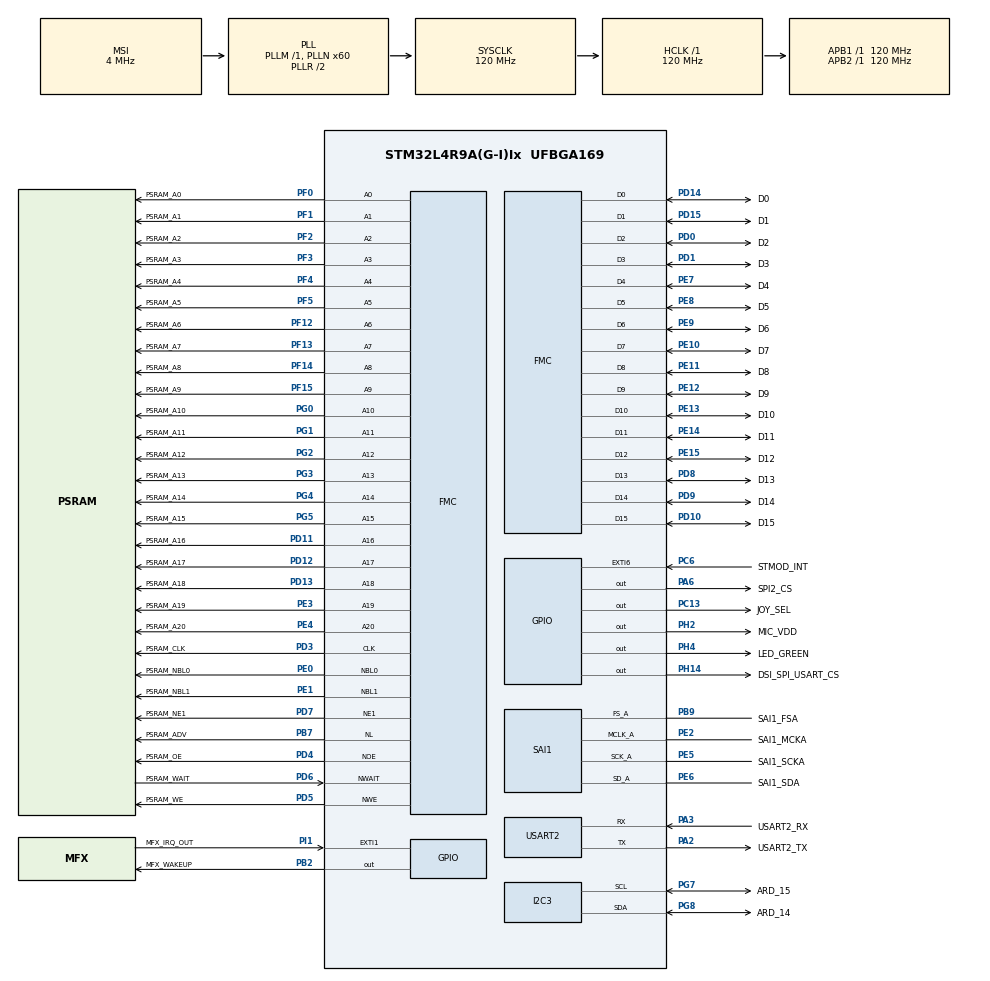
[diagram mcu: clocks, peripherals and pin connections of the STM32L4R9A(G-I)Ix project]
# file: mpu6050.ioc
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DSIHOST_CKN.GPIO_Label=DSI_CK_N
DSIHOST_CKN.Signal=DSIHOST_CKN
DSIHOST_CKP.GPIO_Label=DSI_CK_P
DSIHOST_CKP.Signal=DSIHOST_CKP
DSIHOST_D0N.GPIO_Label=DSI_D0_N
DSIHOST_D0N.Signal=DSIHOST_D0N
DSIHOST_D0P.GPIO_Label=DSI_D0_P
DSIHOST_D0P.Signal=DSIHOST_D0P
DSIHOST_D1N.GPIO_Label=DSI_D1_N
DSIHOST_D1N.Signal=DSIHOST_D1N
DSIHOST_D1P.GPIO_Label=DSI_D1_P
DSIHOST_D1P.Signal=DSIHOST_D1P
I2C3.Timing=0x30A175AB
Mcu.Family=STM32L4
Mcu.Name=STM32L4R9A(G-I)Ix
Mcu.Package=UFBGA169
NVIC.PriorityGroup=NVIC_PRIORITYGROUP_4
PA0.GPIO_Label=ARD_A4
PA0.Signal=ADCx_IN5
PA1.GPIO_Label=ARD_D5
PA1.Signal=S_TIM5_CH2
PA10.GPIO_Label=USB_OTGFS_ID
PA10.Signal=USB_OTG_FS_ID
PA11.GPIO_Label=USB_OTGFS_DM
PA11.Signal=USB_OTG_FS_DM
PA12.GPIO_Label=USB_OTG_FS_DP
PA12.Signal=USB_OTG_FS_DP
PA13\ (JTMS/SWDIO).GPIO_Label=SWDIO
PA13\ (JTMS/SWDIO).Mode=Serial_Wire
PA13\ (JTMS/SWDIO).Signal=SYS_JTMS-SWDIO
PA14\ (JTCK/SWCLK).GPIO_Label=SWCLK
PA14\ (JTCK/SWCLK).Mode=Serial_Wire
PA14\ (JTCK/SWCLK).Signal=SYS_JTCK-SWCLK
PA15\ (JTDI).GPIO_Label=USART3_RTS
PA15\ (JTDI).Signal=USART3_RTS
PA2.GPIO_Label=USART2_TX
PA2.Mode=Asynchronous
PA2.Signal=USART2_TX
PA3.GPIO_Label=USART2_RX
PA3.Mode=Asynchronous
PA3.Signal=USART2_RX
PA4.GPIO_Label=DCMI_HSYNC
PA4.Signal=DCMI_HSYNC
PA5.GPIO_Label=STMOD_PWM
PA5.Signal=S_TIM2_CH1
PA6.GPIO_Label=SPI2_CS
PA6.Signal=GPIO_Output
PA7.GPIO_Label=ARD_A0
PA7.Signal=ADCx_IN12
PA9.GPIO_Label=USB_OTGFS_VBUS
PA9.Signal=USB_OTG_FS_VBUS
PB0.GPIO_Label=ARD_A3
PB0.Signal=ADCx_IN15
PB10.GPIO_Label=USART3_TX
PB10.Signal=USART3_TX
PB11.GPIO_Label=USART3_RX
PB11.Signal=USART3_RX
PB12.GPIO_Label=DFDATIN1
PB12.Signal=S_DATAIN1DFSDM1
PB13.GPIO_Label=SPI2_CLK
PB13.Signal=SPI2_SCK
PB14.GPIO_Label=SPI2_MISO
PB14.Signal=SPI2_MISO
PB15.GPIO_Label=SPI_MOSI
PB15.Signal=SPI2_MOSI
PB2.GPIO_Label=MFX_WAKEUP
PB2.Signal=GPIO_Output
PB3\ (JTDO/TRACESWO).GPIO_Label=SWO
PB3\ (JTDO/TRACESWO).Signal=SYS_JTDO-SWO
PB4\ (NJTRST).GPIO_Label=ARD_D6
PB4\ (NJTRST).Signal=S_TIM3_CH1
PB5.GPIO_Label=SAI1_SDB
PB5.Signal=SAI1_SD_B
PB6.GPIO_Label=I2C1_SCL
PB6.GPIO_Pu=GPIO_PULLUP
PB6.Signal=I2C1_SCL
PB7.GPIO_Label=PSRAM_ADV
PB7.Signal=FMC_NL
PB9.GPIO_Label=SAI1_FSA
PB9.Mode=SAI_A_MasterWithClock
PB9.Signal=SAI1_FS_A
PC0.GPIO_Label=ARD_D0
PC0.Signal=LPUART1_RX
PC1.GPIO_Label=ARD_D1
PC1.Signal=LPUART1_TX
PC10.GPIO_Label=uSD_D2
PC10.Signal=SDMMC1_D2
PC11.GPIO_Label=uSD_D3
PC11.Signal=SDMMC1_D3
PC12.GPIO_Label=uSD_CLK
PC12.Signal=SDMMC1_CK
PC13.GPIO_Label=JOY_SEL
PC13.Signal=GPIO_Output
PC14-OSC32_IN\ (PC14).Mode=LSE-External-Oscillator
PC14-OSC32_IN\ (PC14).Signal=RCC_OSC32_IN
PC15-OSC32_OUT\ (PC15).Mode=LSE-External-Oscillator
PC15-OSC32_OUT\ (PC15).Signal=RCC_OSC32_OUT
PC2.GPIO_Label=DF_CKOUT
PC2.Signal=S_CKOUTDFSDM1
PC3.GPIO_Label=ARD_A2
PC3.Signal=ADCx_IN4
PC4.GPIO_Label=ARD_A1
PC4.Signal=ADCx_IN13
PC6.GPIO_Label=STMOD_INT
PC6.Signal=GPXTI6
PC7.GPIO_Label=DFDATIN3
PC7.Signal=S_DATAIN3DFSDM1
PC8.GPIO_Label=uSD_D0
PC8.Signal=SDMMC1_D0
PC9.GPIO_Label=uSD_D1
PC9.Signal=SDMMC1_D1
PD0.GPIO_Label=D2
PD0.Signal=FMC_D2_DA2
PD1.GPIO_Label=D3
PD1.Signal=FMC_D3_DA3
PD10.GPIO_Label=D15
PD10.Signal=FMC_D15_DA15
PD11.GPIO_Label=PSRAM_A16
PD11.Signal=FMC_A16_CLE
PD12.GPIO_Label=PSRAM_A17
PD12.Signal=FMC_A17_ALE
PD13.GPIO_Label=PSRAM_A18
PD13.Signal=FMC_A18
PD14.GPIO_Label=D0
PD14.Signal=FMC_D0_DA0
PD15.GPIO_Label=D1
PD15.Signal=FMC_D1_DA1
PD2.GPIO_Label=uSD_CMD
PD2.Signal=SDMMC1_CMD
PD3.GPIO_Label=PSRAM_CLK
PD3.Signal=FMC_CLK
PD4.GPIO_Label=PSRAM_OE
PD4.Signal=FMC_NOE
PD5.GPIO_Label=PSRAM_WE
PD5.Signal=FMC_NWE
PD6.GPIO_Label=PSRAM_WAIT
PD6.Signal=FMC_NWAIT
PD7.GPIO_Label=PSRAM_NE1
PD7.Mode=NorPsramChipSelect1_1
PD7.Signal=FMC_NE1
PD8.GPIO_Label=D13
PD8.Signal=FMC_D13_DA13
PD9.GPIO_Label=D14
PD9.Signal=FMC_D14_DA14
PE0.GPIO_Label=PSRAM_NBL0
PE0.Signal=FMC_NBL0
PE1.GPIO_Label=PSRAM_NBL1
PE1.Signal=FMC_NBL1
PE10.GPIO_Label=D7
PE10.Signal=FMC_D7_DA7
PE11.GPIO_Label=D8
PE11.Signal=FMC_D8_DA8
PE12.GPIO_Label=D9
PE12.Signal=FMC_D9_DA9
PE13.GPIO_Label=D10
PE13.Signal=FMC_D10_DA10
PE14.GPIO_Label=D11
PE14.Signal=FMC_D11_DA11
PE15.GPIO_Label=D12
PE15.Signal=FMC_D12_DA12
PE2.GPIO_Label=SAI1_MCKA
PE2.Mode=SAI_A_MasterWithClock
PE2.Signal=SAI1_MCLK_A
PE3.GPIO_Label=PSRAM_A19
PE3.Signal=FMC_A19
PE4.GPIO_Label=PSRAM_A20
PE4.Signal=FMC_A20
PE5.GPIO_Label=SAI1_SCKA
PE5.Mode=SAI_A_MasterWithClock
PE5.Signal=SAI1_SCK_A
PE6.GPIO_Label=SAI1_SDA
PE6.Mode=SAI_A_MasterWithClock
PE6.Signal=SAI1_SD_A
PE7.GPIO_Label=D4
PE7.Signal=FMC_D4_DA4
PE8.GPIO_Label=D5
PE8.Signal=FMC_D5_DA5
PE9.GPIO_Label=D6
PE9.Signal=FMC_D6_DA6
PF0.GPIO_Label=PSRAM_A0
PF0.Signal=FMC_A0
PF1.GPIO_Label=PSRAM_A1
PF1.Signal=FMC_A1
PF11.GPIO_Label=DSI_TE
PF11.Signal=DSIHOST_TE
PF12.GPIO_Label=PSRAM_A6
PF12.Signal=FMC_A6
PF13.GPIO_Label=PSRAM_A7
PF13.Signal=FMC_A7
PF14.GPIO_Label=PSRAM_A8
PF14.Signal=FMC_A8
PF15.GPIO_Label=PSRAM_A9
PF15.Signal=FMC_A9
PF2.GPIO_Label=PSRAM_A2
PF2.Signal=FMC_A2
PF3.GPIO_Label=PSRAM_A3
PF3.Signal=FMC_A3
PF4.GPIO_Label=PSRAM_A4
PF4.Signal=FMC_A4
PF5.GPIO_Label=PSRAM_A5
PF5.Signal=FMC_A5
PG0.GPIO_Label=PSRAM_A10
PG0.Signal=FMC_A10
PG1.GPIO_Label=PSRAM_A11
PG1.Signal=FMC_A11
PG10.GPIO_Label=OCTOSPIM_P2_IO7
PG10.Signal=OCTOSPIM_P2_IO7
PG12.GPIO_Label=OCTOSPIM_P2_CS
PG12.Signal=OCTOSPIM_P2_NCS
PG13.GPIO_Label=I2C1_SDA
PG13.GPIO_Pu=GPIO_PULLUP
PG13.Signal=I2C1_SDA
PG15.GPIO_Label=OCTOSPIM_P2_DQS
PG15.Signal=OCTOSPIM_P2_DQS
PG2.GPIO_Label=PSRAM_A12
PG2.Signal=FMC_A12
PG3.GPIO_Label=PSRAM_A13
PG3.Signal=FMC_A13
PG4.GPIO_Label=PSRAM_A14
PG4.Signal=FMC_A14
PG5.GPIO_Label=PSRAM_A15
PG5.Signal=FMC_A15
PG7.GPIO_Label=ARD_15
PG7.Mode=I2C
PG7.Signal=I2C3_SCL
PG8.GPIO_Label=ARD_14
PG8.Mode=I2C
PG8.Signal=I2C3_SDA
PG9.GPIO_Label=OCTOSPIM_P2_IO6
PG9.Signal=OCTOSPIM_P2_IO6
PH0-OSC_IN\ (PH0).Mode=HSE-External-Oscillator
PH0-OSC_IN\ (PH0).Signal=RCC_OSC_IN
PH1-OSC_OUT\ (PH1).Mode=HSE-External-Oscillator
PH1-OSC_OUT\ (PH1).Signal=RCC_OSC_OUT
PH10.GPIO_Label=OCTOSPIM_P2_IO5
PH10.Signal=OCTOSPIM_P2_IO5
PH11.GPIO_Label=DCMI_D2
PH11.Signal=DCMI_D2
PH12.GPIO_Label=DCMI_D3
PH12.Signal=DCMI_D3
PH13.GPIO_Label=ARD_D9
PH13.Signal=TIM8_CH1N
PH14.GPIO_Label=DSI_SPI_USART_CS
PH14.Signal=GPIO_Output
PH2.GPIO_Label=MIC_VDD
PH2.Signal=GPIO_Output
PH4.GPIO_Label=LED_GREEN
PH4.Signal=GPIO_Output
PH5.GPIO_Label=DCMI_PIXCLK
PH5.Signal=DCMI_PIXCLK
PH8.GPIO_Label=OCTOSPI_P2_IO3
PH8.Signal=OCTOSPIM_P2_IO3
PH9.GPIO_Label=OCTOPSIM_P2_IO4
PH9.Signal=OCTOSPIM_P2_IO4
PI0.GPIO_Label=ARD_10
PI0.Signal=SPI2_NSS
PI1.GPIO_Label=MFX_IRQ_OUT
PI1.Signal=GPXTI1
PI10.GPIO_Label=OCTOSPIM_P2_IO1
PI10.Signal=OCTOSPIM_P2_IO1
PI11.GPIO_Label=OCTOSPIM_P2_IO0
PI11.Signal=OCTOSPIM_P2_IO0
PI4.GPIO_Label=DCMI_D5
PI4.Signal=DCMI_D5
PI5.GPIO_Label=DCMI_VSYNC
PI5.Signal=DCMI_VSYNC
PI6.GPIO_Label=OCTOSPIM_P2_CLK
PI6.Signal=OCTOSPIM_P2_CLK
PI7.GPIO_Label=DCMI_D7
PI7.Signal=DCMI_D7
PI9.GPIO_Label=OCTOSPIM_P2_IO2
PI9.Signal=OCTOSPIM_P2_IO2
ProjectManager.HeapSize=0x200
ProjectManager.StackSize=0x400
ProjectManager.TargetToolchain=STM32CubeIDE
RCC.ADCFreq_Value=32000000
RCC.AHBFreq_Value=120000000
RCC.APB1Freq_Value=120000000
RCC.APB1TimFreq_Value=120000000
RCC.APB2Freq_Value=120000000
RCC.APB2TimFreq_Value=120000000
RCC.CK48CLockSelection=RCC_USBCLKSOURCE_HSI48
RCC.CortexFreq_Value=120000000
RCC.HCLKFreq_Value=120000000
RCC.HSE_VALUE=16000000
RCC.HSI48_VALUE=48000000
RCC.HSI_VALUE=16000000
RCC.MSI_VALUE=4000000
RCC.PLLDSINDIV=32
RCC.PLLN=60
RCC.PLLP=RCC_PLLP_DIV5
RCC.PLLSAI1N=16
RCC.SYSCLKFreq_VALUE=120000000
RCC.SYSCLKSource=RCC_SYSCLKSOURCE_PLLCLK
RCC.USBFreq_Value=48000000
RCC.VCOOutputFreq_Value=240000000
SAI1.ErrorAudioFreq-SAI_A_MasterWithClock=-34.89 %
SAI1.Instance-SAI_A_MasterWithClock=SAI$Index_Block_A
SAI1.MClockEnable-SAI_A_MasterWithClock=SAI_MASTERCLOCK_ENABLE
SAI1.RealAudioFreq-SAI_A_MasterWithClock=125.0 KHz
SAI1.Synchro-SAI_A_MasterWithClock=SAI_ASYNCHRONOUS
SAI1.VirtualMode-SAI_A_MasterWithClock=VM_MASTER
SH.ADCx_IN12.0=ADC1_IN12
SH.ADCx_IN13.0=ADC1_IN13
SH.ADCx_IN15.0=ADC1_IN15
SH.ADCx_IN4.0=ADC1_IN4
SH.ADCx_IN5.0=ADC1_IN5
SH.FMC_A0.0=FMC_A0,21b-a1
SH.FMC_A1.0=FMC_A1,21b-a1
SH.FMC_A10.0=FMC_A10,21b-a1
SH.FMC_A11.0=FMC_A11,21b-a1
SH.FMC_A12.0=FMC_A12,21b-a1
SH.FMC_A13.0=FMC_A13,21b-a1
SH.FMC_A14.0=FMC_A14,21b-a1
SH.FMC_A15.0=FMC_A15,21b-a1
SH.FMC_A16_CLE.0=FMC_A16,21b-a1
SH.FMC_A17_ALE.0=FMC_A17,21b-a1
SH.FMC_A18.0=FMC_A18,21b-a1
SH.FMC_A19.0=FMC_A19,21b-a1
SH.FMC_A2.0=FMC_A2,21b-a1
SH.FMC_A20.0=FMC_A20,21b-a1
SH.FMC_A3.0=FMC_A3,21b-a1
SH.FMC_A4.0=FMC_A4,21b-a1
SH.FMC_A5.0=FMC_A5,21b-a1
SH.FMC_A6.0=FMC_A6,21b-a1
SH.FMC_A7.0=FMC_A7,21b-a1
SH.FMC_A8.0=FMC_A8,21b-a1
SH.FMC_A9.0=FMC_A9,21b-a1
SH.FMC_CLK.0=FMC_CLK,BurstReadWrite1
SH.FMC_D0_DA0.0=FMC_D0,16b-d1
SH.FMC_D10_DA10.0=FMC_D10,16b-d1
SH.FMC_D11_DA11.0=FMC_D11,16b-d1
SH.FMC_D12_DA12.0=FMC_D12,16b-d1
SH.FMC_D13_DA13.0=FMC_D13,16b-d1
SH.FMC_D14_DA14.0=FMC_D14,16b-d1
SH.FMC_D15_DA15.0=FMC_D15,16b-d1
SH.FMC_D1_DA1.0=FMC_D1,16b-d1
SH.FMC_D2_DA2.0=FMC_D2,16b-d1
SH.FMC_D3_DA3.0=FMC_D3,16b-d1
SH.FMC_D4_DA4.0=FMC_D4,16b-d1
SH.FMC_D5_DA5.0=FMC_D5,16b-d1
SH.FMC_D6_DA6.0=FMC_D6,16b-d1
SH.FMC_D7_DA7.0=FMC_D7,16b-d1
SH.FMC_D8_DA8.0=FMC_D8,16b-d1
SH.FMC_D9_DA9.0=FMC_D9,16b-d1
SH.FMC_NBL0.0=FMC_NBL0,2ByteEnable1
SH.FMC_NBL1.0=FMC_NBL1,2ByteEnable1
SH.FMC_NL.0=FMC_NL,AddressValid1
SH.FMC_NOE.0=FMC_NOE,Psram1
SH.FMC_NWAIT.0=FMC_NWAIT,SynchronousWait1
SH.FMC_NWE.0=FMC_NWE,Psram1
SH.S_CKOUTDFSDM1.0=DFSDM1_CKOUT
SH.S_DATAIN1DFSDM1.0=DFSDM1_DATIN1
SH.S_DATAIN3DFSDM1.0=DFSDM1_DATIN3
SH.S_TIM2_CH1.0=TIM2_CH1
SH.S_TIM3_CH1.0=TIM3_CH1
SH.S_TIM5_CH2.0=TIM5_CH2
USART2.VirtualMode-Asynchronous=VM_ASYNC
board=STM32L4R9I-DISCO

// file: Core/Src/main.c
/* USER CODE BEGIN Header */
/**
  ******************************************************************************
  * @file           : main.c
  * @brief          : Main program body
  ******************************************************************************
  * @attention
  *
  * Copyright (c) 2025 STMicroelectronics.
  * All rights reserved.
  *
  * This software is licensed under terms that can be found in the LICENSE file
  * in the root directory of this software component.
  * If no LICENSE file comes with this software, it is provided AS-IS.
  *
  ******************************************************************************
  */
/* USER CODE END Header */
#include "main.h"

/* USER CODE BEGIN PD */
// MPU6050 I2C Address
#define MPU6050_ADDR 0xD0

// MPU6050 Register Addresses
#define SMPLRT_DIV_REG 0x19
#define GYRO_CONFIG_REG 0x1B
#define ACCEL_CONFIG_REG 0x1C
#define ACCEL_XOUT_H_REG 0x3B
#define TEMP_OUT_H_REG 0x41
#define GYRO_XOUT_H_REG 0x43
#define PWR_MGMT_1_REG 0x6B
#define WHO_AM_I_REG 0x75

typedef struct {
    int16_t Accel_X_RAW;
    int16_t Accel_Y_RAW;
    int16_t Accel_Z_RAW;
    double Ax;
    double Ay;
    double Az;

    int16_t Gyro_X_RAW;
    int16_t Gyro_Y_RAW;
    int16_t Gyro_Z_RAW;
    double Gx;
    double Gy;
    double Gz;

    float Temperature;
} MPU6050_t;
MPU6050_t MPU6050;
char uart_buf[200];
/* USER CODE END PD */

I2C_HandleTypeDef hi2c3;

SAI_HandleTypeDef hsai_BlockA1;

UART_HandleTypeDef huart2;

SRAM_HandleTypeDef hsram1;

void SystemClock_Config(void);
static void MX_GPIO_Init(void);
static void MX_FMC_Init(void);
static void MX_SAI1_Init(void);
static void MX_USART2_UART_Init(void);
static void MX_I2C3_Init(void);

/* USER CODE BEGIN 0 */
/* USER CODE BEGIN PFP */
void MPU6050_Init(void);
void MPU6050_Read_Accel(void);
void MPU6050_Read_Gyro(void);
void MPU6050_Read_Temp(void);
void MPU6050_Read_All(void);
/* USER CODE END PFP */

/* Private user code ---------------------------------------------------------*/
/* USER CODE BEGIN 0 */

void MPU6050_Init(void) {
    uint8_t check;
    uint8_t Data;

    // Check device ID WHO_AM_I
    HAL_I2C_Mem_Read(&hi2c3, MPU6050_ADDR, WHO_AM_I_REG, 1, &check, 1, 1000);

    if (check == 104) { // 0x68 will be returned by the sensor if everything goes well
        // Power management register 0X6B we should write all 0's to wake the sensor up
        Data = 0;
        HAL_I2C_Mem_Write(&hi2c3, MPU6050_ADDR, PWR_MGMT_1_REG, 1, &Data, 1, 1000);

        // Set DATA RATE of 1KHz by writing SMPLRT_DIV register
        Data = 0x07;
        HAL_I2C_Mem_Write(&hi2c3, MPU6050_ADDR, SMPLRT_DIV_REG, 1, &Data, 1, 1000);

        // Set accelerometer configuration in ACCEL_CONFIG Register
        // XA_ST=0,YA_ST=0,ZA_ST=0, FS_SEL=0 -> ± 2g
        Data = 0x00;
        HAL_I2C_Mem_Write(&hi2c3, MPU6050_ADDR, ACCEL_CONFIG_REG, 1, &Data, 1, 1000);

        // Set Gyroscopic configuration in GYRO_CONFIG Register
        // XG_ST=0,YG_ST=0,ZG_ST=0, FS_SEL=0 -> ± 250 °/s
        Data = 0x00;
        HAL_I2C_Mem_Write(&hi2c3, MPU6050_ADDR, GYRO_CONFIG_REG, 1, &Data, 1, 1000);

        sprintf(uart_buf, "MPU6050 Initialization Successful!\r\n");
        HAL_UART_Transmit(&huart2, (uint8_t*)uart_buf, strlen(uart_buf), HAL_MAX_DELAY);
    } else {
        sprintf(uart_buf, "MPU6050 Initialization Failed! WHO_AM_I = %d\r\n", check);
        HAL_UART_Transmit(&huart2, (uint8_t*)uart_buf, strlen(uart_buf), HAL_MAX_DELAY);
    }
}

void MPU6050_Read_Accel(void) {
    uint8_t Rec_Data[6];

    // Read 6 BYTES of data starting from ACCEL_XOUT_H register
    HAL_I2C_Mem_Read(&hi2c3, MPU6050_ADDR, ACCEL_XOUT_H_REG, 1, Rec_Data, 6, 1000);

    MPU6050.Accel_X_RAW = (int16_t)(Rec_Data[0] << 8 | Rec_Data[1]);
    MPU6050.Accel_Y_RAW = (int16_t)(Rec_Data[2] << 8 | Rec_Data[3]);
    MPU6050.Accel_Z_RAW = (int16_t)(Rec_Data[4] << 8 | Rec_Data[5]);

    /*** convert the RAW values into acceleration in 'g'
         we have to divide according to the Full scale value set in FS_SEL
         I have configured FS_SEL = 0. So I am dividing by 16384.0
         for more details check ACCEL_CONFIG Register              ****/

    MPU6050.Ax = MPU6050.Accel_X_RAW / 16384.0;
    MPU6050.Ay = MPU6050.Accel_Y_RAW / 16384.0;
    MPU6050.Az = MPU6050.Accel_Z_RAW / 16384.0;
}

void MPU6050_Read_Gyro(void) {
    uint8_t Rec_Data[6];

    // Read 6 BYTES of data starting from GYRO_XOUT_H register
    HAL_I2C_Mem_Read(&hi2c3, MPU6050_ADDR, GYRO_XOUT_H_REG, 1, Rec_Data, 6, 1000);

    MPU6050.Gyro_X_RAW = (int16_t)(Rec_Data[0] << 8 | Rec_Data[1]);
    MPU6050.Gyro_Y_RAW = (int16_t)(Rec_Data[2] << 8 | Rec_Data[3]);
    MPU6050.Gyro_Z_RAW = (int16_t)(Rec_Data[4] << 8 | Rec_Data[5]);

    /*** convert the RAW values into dps (°/s)
         we have to divide according to the Full scale value set in FS_SEL
         I have configured FS_SEL = 0. So I am dividing by 131.0
         for more details check GYRO_CONFIG Register                ****/

    MPU6050.Gx = MPU6050.Gyro_X_RAW / 131.0;
    MPU6050.Gy = MPU6050.Gyro_Y_RAW / 131.0;
    MPU6050.Gz = MPU6050.Gyro_Z_RAW / 131.0;
}

void MPU6050_Read_Temp(void) {
    uint8_t Rec_Data[2];
    int16_t temp;

    // Read 2 BYTES of data starting from TEMP_OUT_H_REG
    HAL_I2C_Mem_Read(&hi2c3, MPU6050_ADDR, TEMP_OUT_H_REG, 1, Rec_Data, 2, 1000);

    temp = (int16_t)(Rec_Data[0] << 8 | Rec_Data[1]);
    MPU6050.Temperature = ((float)temp / 340.0) + 36.53;
}

void MPU6050_Read_All(void) {
    uint8_t Rec_Data[14];

    // Read 14 BYTES of data starting from ACCEL_XOUT_H register
    HAL_I2C_Mem_Read(&hi2c3, MPU6050_ADDR, ACCEL_XOUT_H_REG, 1, Rec_Data, 14, 1000);

    MPU6050.Accel_X_RAW = (int16_t)(Rec_Data[0] << 8 | Rec_Data[1]);
    MPU6050.Accel_Y_RAW = (int16_t)(Rec_Data[2] << 8 | Rec_Data[3]);
    MPU6050.Accel_Z_RAW = (int16_t)(Rec_Data[4] << 8 | Rec_Data[5]);
    int16_t temp = (int16_t)(Rec_Data[6] << 8 | Rec_Data[7]);
    MPU6050.Gyro_X_RAW = (int16_t)(Rec_Data[8] << 8 | Rec_Data[9]);
    MPU6050.Gyro_Y_RAW = (int16_t)(Rec_Data[10] << 8 | Rec_Data[11]);
    MPU6050.Gyro_Z_RAW = (int16_t)(Rec_Data[12] << 8 | Rec_Data[13]);

    MPU6050.Ax = MPU6050.Accel_X_RAW / 16384.0;
    MPU6050.Ay = MPU6050.Accel_Y_RAW / 16384.0;
    MPU6050.Az = MPU6050.Accel_Z_RAW / 16384.0;

    MPU6050.Temperature = ((float)temp / 340.0) + 36.53;

    MPU6050.Gx = MPU6050.Gyro_X_RAW / 131.0;
    MPU6050.Gy = MPU6050.Gyro_Y_RAW / 131.0;
    MPU6050.Gz = MPU6050.Gyro_Z_RAW / 131.0;
}

/* USER CODE END 0 */

int main(void)
{

  /* MCU Configuration--------------------------------------------------------*/

  /* Reset of all peripherals, Initializes the Flash interface and the Systick. */
  HAL_Init();

  /* Configure the system clock */
  SystemClock_Config();

  /* Initialize all configured peripherals */
  MX_GPIO_Init();
  MX_FMC_Init();
  MX_SAI1_Init();
  MX_USART2_UART_Init();
  MX_I2C3_Init();
  /* USER CODE BEGIN 2 */
  MPU6050_Init();

    sprintf(uart_buf, "Starting MPU6050 data reading...\r\n");
    HAL_UART_Transmit(&huart2, (uint8_t*)uart_buf, strlen(uart_buf), HAL_MAX_DELAY);

  /* USER CODE END 2 */

  /* Infinite loop */
  /* USER CODE BEGIN WHILE */
  while (1)
  {
	  // Read all MPU6050 data
	      MPU6050_Read_All();

	      // Format and send data via UART
	      sprintf(uart_buf, "Acc: X=%.2f, Y=%.2f, Z=%.2f | Gyro: X=%.2f, Y=%.2f, Z=%.2f | Temp=%.2f°C\r\n",
	              MPU6050.Ax, MPU6050.Ay, MPU6050.Az,
	              MPU6050.Gx, MPU6050.Gy, MPU6050.Gz,
	              MPU6050.Temperature);

	      HAL_UART_Transmit(&huart2, (uint8_t*)uart_buf, strlen(uart_buf), HAL_MAX_DELAY);

	      // Wait 500ms
	      HAL_Delay(500);

    /* USER CODE END WHILE */

  }
}

void SystemClock_Config(void)
{
  RCC_OscInitTypeDef RCC_OscInitStruct = {0};
  RCC_ClkInitTypeDef RCC_ClkInitStruct = {0};

  /** Configure the main internal regulator output voltage
  */
  if (HAL_PWREx_ControlVoltageScaling(PWR_REGULATOR_VOLTAGE_SCALE1_BOOST) != HAL_OK)
  {
    Error_Handler();
  }

  /** Initializes the RCC Oscillators according to the specified parameters
  * in the RCC_OscInitTypeDef structure.
  */
  RCC_OscInitStruct.OscillatorType = RCC_OSCILLATORTYPE_MSI;
  RCC_OscInitStruct.MSIState = RCC_MSI_ON;
  RCC_OscInitStruct.MSICalibrationValue = 0;
  RCC_OscInitStruct.MSIClockRange = RCC_MSIRANGE_6;
  RCC_OscInitStruct.PLL.PLLState = RCC_PLL_ON;
  RCC_OscInitStruct.PLL.PLLSource = RCC_PLLSOURCE_MSI;
  RCC_OscInitStruct.PLL.PLLM = 1;
  RCC_OscInitStruct.PLL.PLLN = 60;
  RCC_OscInitStruct.PLL.PLLP = RCC_PLLP_DIV5;
  RCC_OscInitStruct.PLL.PLLQ = RCC_PLLQ_DIV2;
  RCC_OscInitStruct.PLL.PLLR = RCC_PLLR_DIV2;
  if (HAL_RCC_OscConfig(&RCC_OscInitStruct) != HAL_OK)
  {
    Error_Handler();
  }

  /** Initializes the CPU, AHB and APB buses clocks
  */
  RCC_ClkInitStruct.ClockType = RCC_CLOCKTYPE_HCLK|RCC_CLOCKTYPE_SYSCLK
                              |RCC_CLOCKTYPE_PCLK1|RCC_CLOCKTYPE_PCLK2;
  RCC_ClkInitStruct.SYSCLKSource = RCC_SYSCLKSOURCE_PLLCLK;
  RCC_ClkInitStruct.AHBCLKDivider = RCC_SYSCLK_DIV1;
  RCC_ClkInitStruct.APB1CLKDivider = RCC_HCLK_DIV1;
  RCC_ClkInitStruct.APB2CLKDivider = RCC_HCLK_DIV1;

  if (HAL_RCC_ClockConfig(&RCC_ClkInitStruct, FLASH_LATENCY_5) != HAL_OK)
  {
    Error_Handler();
  }
}

static void MX_I2C3_Init(void)
{

  hi2c3.Instance = I2C3;
  hi2c3.Init.Timing = 0x30A175AB;
  hi2c3.Init.OwnAddress1 = 0;
  hi2c3.Init.AddressingMode = I2C_ADDRESSINGMODE_7BIT;
  hi2c3.Init.DualAddressMode = I2C_DUALADDRESS_DISABLE;
  hi2c3.Init.OwnAddress2 = 0;
  hi2c3.Init.OwnAddress2Masks = I2C_OA2_NOMASK;
  hi2c3.Init.GeneralCallMode = I2C_GENERALCALL_DISABLE;
  hi2c3.Init.NoStretchMode = I2C_NOSTRETCH_DISABLE;
  if (HAL_I2C_Init(&hi2c3) != HAL_OK)
  {
    Error_Handler();
  }

  /** Configure Analogue filter
  */
  if (HAL_I2CEx_ConfigAnalogFilter(&hi2c3, I2C_ANALOGFILTER_ENABLE) != HAL_OK)
  {
    Error_Handler();
  }

  /** Configure Digital filter
  */
  if (HAL_I2CEx_ConfigDigitalFilter(&hi2c3, 0) != HAL_OK)
  {
    Error_Handler();
  }

}

static void MX_SAI1_Init(void)
{

  hsai_BlockA1.Instance = SAI1_Block_A;
  hsai_BlockA1.Init.Protocol = SAI_FREE_PROTOCOL;
  hsai_BlockA1.Init.AudioMode = SAI_MODEMASTER_TX;
  hsai_BlockA1.Init.DataSize = SAI_DATASIZE_8;
  hsai_BlockA1.Init.FirstBit = SAI_FIRSTBIT_MSB;
  hsai_BlockA1.Init.ClockStrobing = SAI_CLOCKSTROBING_FALLINGEDGE;
  hsai_BlockA1.Init.Synchro = SAI_ASYNCHRONOUS;
  hsai_BlockA1.Init.OutputDrive = SAI_OUTPUTDRIVE_DISABLE;
  hsai_BlockA1.Init.NoDivider = SAI_MASTERDIVIDER_ENABLE;
  hsai_BlockA1.Init.MckOverSampling = SAI_MCK_OVERSAMPLING_DISABLE;
  hsai_BlockA1.Init.FIFOThreshold = SAI_FIFOTHRESHOLD_EMPTY;
  hsai_BlockA1.Init.AudioFrequency = SAI_AUDIO_FREQUENCY_192K;
  hsai_BlockA1.Init.SynchroExt = SAI_SYNCEXT_DISABLE;
  hsai_BlockA1.Init.MonoStereoMode = SAI_STEREOMODE;
  hsai_BlockA1.Init.CompandingMode = SAI_NOCOMPANDING;
  hsai_BlockA1.Init.TriState = SAI_OUTPUT_NOTRELEASED;
  hsai_BlockA1.Init.PdmInit.Activation = DISABLE;
  hsai_BlockA1.Init.PdmInit.MicPairsNbr = 0;
  hsai_BlockA1.Init.PdmInit.ClockEnable = SAI_PDM_CLOCK1_ENABLE;
  hsai_BlockA1.FrameInit.FrameLength = 8;
  hsai_BlockA1.FrameInit.ActiveFrameLength = 1;
  hsai_BlockA1.FrameInit.FSDefinition = SAI_FS_STARTFRAME;
  hsai_BlockA1.FrameInit.FSPolarity = SAI_FS_ACTIVE_LOW;
  hsai_BlockA1.FrameInit.FSOffset = SAI_FS_FIRSTBIT;
  hsai_BlockA1.SlotInit.FirstBitOffset = 0;
  hsai_BlockA1.SlotInit.SlotSize = SAI_SLOTSIZE_DATASIZE;
  hsai_BlockA1.SlotInit.SlotNumber = 1;
  hsai_BlockA1.SlotInit.SlotActive = 0x00000000;
  if (HAL_SAI_Init(&hsai_BlockA1) != HAL_OK)
  {
    Error_Handler();
  }

}

static void MX_USART2_UART_Init(void)
{

  huart2.Instance = USART2;
  huart2.Init.BaudRate = 115200;
  huart2.Init.WordLength = UART_WORDLENGTH_8B;
  huart2.Init.StopBits = UART_STOPBITS_1;
  huart2.Init.Parity = UART_PARITY_NONE;
  huart2.Init.Mode = UART_MODE_TX_RX;
  huart2.Init.HwFlowCtl = UART_HWCONTROL_NONE;
  huart2.Init.OverSampling = UART_OVERSAMPLING_16;
  huart2.Init.OneBitSampling = UART_ONE_BIT_SAMPLE_DISABLE;
  huart2.Init.ClockPrescaler = UART_PRESCALER_DIV1;
  huart2.AdvancedInit.AdvFeatureInit = UART_ADVFEATURE_NO_INIT;
  if (HAL_UART_Init(&huart2) != HAL_OK)
  {
    Error_Handler();
  }
  if (HAL_UARTEx_SetTxFifoThreshold(&huart2, UART_TXFIFO_THRESHOLD_1_8) != HAL_OK)
  {
    Error_Handler();
  }
  if (HAL_UARTEx_SetRxFifoThreshold(&huart2, UART_RXFIFO_THRESHOLD_1_8) != HAL_OK)
  {
    Error_Handler();
  }
  if (HAL_UARTEx_DisableFifoMode(&huart2) != HAL_OK)
  {
    Error_Handler();
  }

}

/* FMC initialization function */
static void MX_FMC_Init(void)
{

  FMC_NORSRAM_TimingTypeDef Timing = {0};

  /** Perform the SRAM1 memory initialization sequence
  */
  hsram1.Instance = FMC_NORSRAM_DEVICE;
  hsram1.Extended = FMC_NORSRAM_EXTENDED_DEVICE;
  /* hsram1.Init */
  hsram1.Init.NSBank = FMC_NORSRAM_BANK1;
  hsram1.Init.DataAddressMux = FMC_DATA_ADDRESS_MUX_DISABLE;
  hsram1.Init.MemoryType = FMC_MEMORY_TYPE_PSRAM;
  hsram1.Init.MemoryDataWidth = FMC_NORSRAM_MEM_BUS_WIDTH_16;
  hsram1.Init.BurstAccessMode = FMC_BURST_ACCESS_MODE_ENABLE;
  hsram1.Init.WaitSignalPolarity = FMC_WAIT_SIGNAL_POLARITY_LOW;
  hsram1.Init.WaitSignalActive = FMC_WAIT_TIMING_BEFORE_WS;
  hsram1.Init.WriteOperation = FMC_WRITE_OPERATION_DISABLE;
  hsram1.Init.WaitSignal = FMC_WAIT_SIGNAL_ENABLE;
  hsram1.Init.ExtendedMode = FMC_EXTENDED_MODE_DISABLE;
  hsram1.Init.AsynchronousWait = FMC_ASYNCHRONOUS_WAIT_DISABLE;
  hsram1.Init.WriteBurst = FMC_WRITE_BURST_ENABLE;
  hsram1.Init.ContinuousClock = FMC_CONTINUOUS_CLOCK_SYNC_ONLY;
  hsram1.Init.WriteFifo = FMC_WRITE_FIFO_ENABLE;
  hsram1.Init.NBLSetupTime = 0;
  hsram1.Init.PageSize = FMC_PAGE_SIZE_NONE;
  /* Timing */
  Timing.AddressSetupTime = 15;
  Timing.AddressHoldTime = 15;
  Timing.DataSetupTime = 255;
  Timing.DataHoldTime = 0;
  Timing.BusTurnAroundDuration = 15;
  Timing.CLKDivision = 16;
  Timing.DataLatency = 2;
  Timing.AccessMode = FMC_ACCESS_MODE_A;
  /* ExtTiming */

  if (HAL_SRAM_Init(&hsram1, &Timing, NULL) != HAL_OK)
  {
    Error_Handler( );
  }

}

static void MX_GPIO_Init(void)
{
  GPIO_InitTypeDef GPIO_InitStruct = {0};

  /* GPIO Ports Clock Enable */
  __HAL_RCC_GPIOI_CLK_ENABLE();
  __HAL_RCC_GPIOH_CLK_ENABLE();
  __HAL_RCC_GPIOE_CLK_ENABLE();
  __HAL_RCC_GPIOB_CLK_ENABLE();
  __HAL_RCC_GPIOA_CLK_ENABLE();
  __HAL_RCC_GPIOG_CLK_ENABLE();
  HAL_PWREx_EnableVddIO2();
  __HAL_RCC_GPIOD_CLK_ENABLE();
  __HAL_RCC_GPIOC_CLK_ENABLE();
  __HAL_RCC_GPIOF_CLK_ENABLE();

  /*Configure GPIO pin Output Level */
  HAL_GPIO_WritePin(GPIOH, MIC_VDD_Pin|DSI_SPI_USART_CS_Pin|LED_GREEN_Pin, GPIO_PIN_RESET);

  /*Configure GPIO pin Output Level */
  HAL_GPIO_WritePin(JOY_SEL_GPIO_Port, JOY_SEL_Pin, GPIO_PIN_RESET);

  /*Configure GPIO pin Output Level */
  HAL_GPIO_WritePin(SPI2_CS_GPIO_Port, SPI2_CS_Pin, GPIO_PIN_RESET);

  /*Configure GPIO pin Output Level */
  HAL_GPIO_WritePin(MFX_WAKEUP_GPIO_Port, MFX_WAKEUP_Pin, GPIO_PIN_RESET);

  /*Configure GPIO pins : OCTOSPIM_P2_IO1_Pin OCTOSPIM_P2_IO2_Pin OCTOSPIM_P2_CLK_Pin OCTOSPIM_P2_IO0_Pin */
  GPIO_InitStruct.Pin = OCTOSPIM_P2_IO1_Pin|OCTOSPIM_P2_IO2_Pin|OCTOSPIM_P2_CLK_Pin|OCTOSPIM_P2_IO0_Pin;
  GPIO_InitStruct.Mode = GPIO_MODE_AF_PP;
  GPIO_InitStruct.Pull = GPIO_NOPULL;
  GPIO_InitStruct.Speed = GPIO_SPEED_FREQ_VERY_HIGH;
  GPIO_InitStruct.Alternate = GPIO_AF5_OCTOSPIM_P2;
  HAL_GPIO_Init(GPIOI, &GPIO_InitStruct);

  /*Configure GPIO pins : MIC_VDD_Pin DSI_SPI_USART_CS_Pin LED_GREEN_Pin */
  GPIO_InitStruct.Pin = MIC_VDD_Pin|DSI_SPI_USART_CS_Pin|LED_GREEN_Pin;
  GPIO_InitStruct.Mode = GPIO_MODE_OUTPUT_PP;
  GPIO_InitStruct.Pull = GPIO_NOPULL;
  GPIO_InitStruct.Speed = GPIO_SPEED_FREQ_LOW;
  HAL_GPIO_Init(GPIOH, &GPIO_InitStruct);

  /*Configure GPIO pin : ARD_D6_Pin */
  GPIO_InitStruct.Pin = ARD_D6_Pin;
  GPIO_InitStruct.Mode = GPIO_MODE_AF_PP;
  GPIO_InitStruct.Pull = GPIO_NOPULL;
  GPIO_InitStruct.Speed = GPIO_SPEED_FREQ_LOW;
  GPIO_InitStruct.Alternate = GPIO_AF2_TIM3;
  HAL_GPIO_Init(ARD_D6_GPIO_Port, &GPIO_InitStruct);

  /*Configure GPIO pin : USART3_RTS_Pin */
  GPIO_InitStruct.Pin = USART3_RTS_Pin;
  GPIO_InitStruct.Mode = GPIO_MODE_AF_PP;
  GPIO_InitStruct.Pull = GPIO_NOPULL;
  GPIO_InitStruct.Speed = GPIO_SPEED_FREQ_VERY_HIGH;
  GPIO_InitStruct.Alternate = GPIO_AF7_USART3;
  HAL_GPIO_Init(USART3_RTS_GPIO_Port, &GPIO_InitStruct);

  /*Configure GPIO pin : ARD_10_Pin */
  GPIO_InitStruct.Pin = ARD_10_Pin;
  GPIO_InitStruct.Mode = GPIO_MODE_AF_PP;
  GPIO_InitStruct.Pull = GPIO_NOPULL;
  GPIO_InitStruct.Speed = GPIO_SPEED_FREQ_VERY_HIGH;
  GPIO_InitStruct.Alternate = GPIO_AF5_SPI2;
  HAL_GPIO_Init(ARD_10_GPIO_Port, &GPIO_InitStruct);

  /*Configure GPIO pins : DCMI_D7_Pin DCMI_D5_Pin DCMI_VSYNC_Pin */
  GPIO_InitStruct.Pin = DCMI_D7_Pin|DCMI_D5_Pin|DCMI_VSYNC_Pin;
  GPIO_InitStruct.Mode = GPIO_MODE_AF_PP;
  GPIO_InitStruct.Pull = GPIO_NOPULL;
  GPIO_InitStruct.Speed = GPIO_SPEED_FREQ_LOW;
  GPIO_InitStruct.Alternate = GPIO_AF10_DCMI;
  HAL_GPIO_Init(GPIOI, &GPIO_InitStruct);

  /*Configure GPIO pins : OCTOSPIM_P2_IO6_Pin OCTOSPIM_P2_DQS_Pin OCTOSPIM_P2_IO7_Pin OCTOSPIM_P2_CS_Pin */
  GPIO_InitStruct.Pin = OCTOSPIM_P2_IO6_Pin|OCTOSPIM_P2_DQS_Pin|OCTOSPIM_P2_IO7_Pin|OCTOSPIM_P2_CS_Pin;
  GPIO_InitStruct.Mode = GPIO_MODE_AF_PP;
  GPIO_InitStruct.Pull = GPIO_NOPULL;
  GPIO_InitStruct.Speed = GPIO_SPEED_FREQ_VERY_HIGH;
  GPIO_InitStruct.Alternate = GPIO_AF5_OCTOSPIM_P2;
  HAL_GPIO_Init(GPIOG, &GPIO_InitStruct);

  /*Configure GPIO pin : MFX_IRQ_OUT_Pin */
  GPIO_InitStruct.Pin = MFX_IRQ_OUT_Pin;
  GPIO_InitStruct.Mode = GPIO_MODE_IT_RISING;
  GPIO_InitStruct.Pull = GPIO_NOPULL;
  HAL_GPIO_Init(MFX_IRQ_OUT_GPIO_Port, &GPIO_InitStruct);

  /*Configure GPIO pins : DCMI_D3_Pin DCMI_PIXCLK_Pin DCMI_D2_Pin */
  GPIO_InitStruct.Pin = DCMI_D3_Pin|DCMI_PIXCLK_Pin|DCMI_D2_Pin;
  GPIO_InitStruct.Mode = GPIO_MODE_AF_PP;
  GPIO_InitStruct.Pull = GPIO_NOPULL;
  GPIO_InitStruct.Speed = GPIO_SPEED_FREQ_LOW;
  GPIO_InitStruct.Alternate = GPIO_AF10_DCMI;
  HAL_GPIO_Init(GPIOH, &GPIO_InitStruct);

  /*Configure GPIO pin : I2C1_SCL_Pin */
  GPIO_InitStruct.Pin = I2C1_SCL_Pin;
  GPIO_InitStruct.Mode = GPIO_MODE_AF_OD;
  GPIO_InitStruct.Pull = GPIO_PULLUP;
  GPIO_InitStruct.Speed = GPIO_SPEED_FREQ_VERY_HIGH;
  GPIO_InitStruct.Alternate = GPIO_AF4_I2C1;
  HAL_GPIO_Init(I2C1_SCL_GPIO_Port, &GPIO_InitStruct);

  /*Configure GPIO pin : ARD_D9_Pin */
  GPIO_InitStruct.Pin = ARD_D9_Pin;
  GPIO_InitStruct.Mode = GPIO_MODE_AF_PP;
  GPIO_InitStruct.Pull = GPIO_NOPULL;
  GPIO_InitStruct.Speed = GPIO_SPEED_FREQ_LOW;
  GPIO_InitStruct.Alternate = GPIO_AF3_TIM8;
  HAL_GPIO_Init(ARD_D9_GPIO_Port, &GPIO_InitStruct);

  /*Configure GPIO pins : OCTOPSIM_P2_IO4_Pin OCTOSPIM_P2_IO5_Pin OCTOSPI_P2_IO3_Pin */
  GPIO_InitStruct.Pin = OCTOPSIM_P2_IO4_Pin|OCTOSPIM_P2_IO5_Pin|OCTOSPI_P2_IO3_Pin;
  GPIO_InitStruct.Mode = GPIO_MODE_AF_PP;
  GPIO_InitStruct.Pull = GPIO_NOPULL;
  GPIO_InitStruct.Speed = GPIO_SPEED_FREQ_VERY_HIGH;
  GPIO_InitStruct.Alternate = GPIO_AF5_OCTOSPIM_P2;
  HAL_GPIO_Init(GPIOH, &GPIO_InitStruct);

  /*Configure GPIO pin : uSD_CMD_Pin */
  GPIO_InitStruct.Pin = uSD_CMD_Pin;
  GPIO_InitStruct.Mode = GPIO_MODE_AF_PP;
  GPIO_InitStruct.Pull = GPIO_NOPULL;
  GPIO_InitStruct.Speed = GPIO_SPEED_FREQ_VERY_HIGH;
  GPIO_InitStruct.Alternate = GPIO_AF12_SDMMC1;
  HAL_GPIO_Init(uSD_CMD_GPIO_Port, &GPIO_InitStruct);

  /*Configure GPIO pins : uSD_D2_Pin uSD_D3_Pin uSD_CLK_Pin uSD_D0_Pin
                           uSD_D1_Pin */
  GPIO_InitStruct.Pin = uSD_D2_Pin|uSD_D3_Pin|uSD_CLK_Pin|uSD_D0_Pin
                          |uSD_D1_Pin;
  GPIO_InitStruct.Mode = GPIO_MODE_AF_PP;
  GPIO_InitStruct.Pull = GPIO_NOPULL;
  GPIO_InitStruct.Speed = GPIO_SPEED_FREQ_VERY_HIGH;
  GPIO_InitStruct.Alternate = GPIO_AF12_SDMMC1;
  HAL_GPIO_Init(GPIOC, &GPIO_InitStruct);

  /*Configure GPIO pins : USB_OTGFS_ID_Pin USB_OTG_FS_DP_Pin USB_OTGFS_DM_Pin */
  GPIO_InitStruct.Pin = USB_OTGFS_ID_Pin|USB_OTG_FS_DP_Pin|USB_OTGFS_DM_Pin;
  GPIO_InitStruct.Mode = GPIO_MODE_AF_PP;
  GPIO_InitStruct.Pull = GPIO_NOPULL;
  GPIO_InitStruct.Speed = GPIO_SPEED_FREQ_VERY_HIGH;
  GPIO_InitStruct.Alternate = GPIO_AF10_OTG_FS;
  HAL_GPIO_Init(GPIOA, &GPIO_InitStruct);

  /*Configure GPIO pin : JOY_SEL_Pin */
  GPIO_InitStruct.Pin = JOY_SEL_Pin;
  GPIO_InitStruct.Mode = GPIO_MODE_OUTPUT_PP;
  GPIO_InitStruct.Pull = GPIO_NOPULL;
  GPIO_InitStruct.Speed = GPIO_SPEED_FREQ_LOW;
  HAL_GPIO_Init(JOY_SEL_GPIO_Port, &GPIO_InitStruct);

  /*Configure GPIO pin : USB_OTGFS_VBUS_Pin */
  GPIO_InitStruct.Pin = USB_OTGFS_VBUS_Pin;
  GPIO_InitStruct.Mode = GPIO_MODE_INPUT;
  GPIO_InitStruct.Pull = GPIO_NOPULL;
  HAL_GPIO_Init(USB_OTGFS_VBUS_GPIO_Port, &GPIO_InitStruct);

  /*Configure GPIO pin : STMOD_INT_Pin */
  GPIO_InitStruct.Pin = STMOD_INT_Pin;
  GPIO_InitStruct.Mode = GPIO_MODE_IT_RISING;
  GPIO_InitStruct.Pull = GPIO_NOPULL;
  HAL_GPIO_Init(STMOD_INT_GPIO_Port, &GPIO_InitStruct);

  /*Configure GPIO pin : I2C1_SDA_Pin */
  GPIO_InitStruct.Pin = I2C1_SDA_Pin;
  GPIO_InitStruct.Mode = GPIO_MODE_AF_OD;
  GPIO_InitStruct.Pull = GPIO_PULLUP;
  GPIO_InitStruct.Speed = GPIO_SPEED_FREQ_VERY_HIGH;
  GPIO_InitStruct.Alternate = GPIO_AF4_I2C1;
  HAL_GPIO_Init(I2C1_SDA_GPIO_Port, &GPIO_InitStruct);

  /*Configure GPIO pins : DFDATIN3_Pin DF_CKOUT_Pin */
  GPIO_InitStruct.Pin = DFDATIN3_Pin|DF_CKOUT_Pin;
  GPIO_InitStruct.Mode = GPIO_MODE_AF_PP;
  GPIO_InitStruct.Pull = GPIO_NOPULL;
  GPIO_InitStruct.Speed = GPIO_SPEED_FREQ_LOW;
  GPIO_InitStruct.Alternate = GPIO_AF6_DFSDM1;
  HAL_GPIO_Init(GPIOC, &GPIO_InitStruct);

  /*Configure GPIO pins : USART3_RX_Pin USART3_TX_Pin */
  GPIO_InitStruct.Pin = USART3_RX_Pin|USART3_TX_Pin;
  GPIO_InitStruct.Mode = GPIO_MODE_AF_PP;
  GPIO_InitStruct.Pull = GPIO_NOPULL;
  GPIO_InitStruct.Speed = GPIO_SPEED_FREQ_VERY_HIGH;
  GPIO_InitStruct.Alternate = GPIO_AF7_USART3;
  HAL_GPIO_Init(GPIOB, &GPIO_InitStruct);

  /*Configure GPIO pins : ARD_D0_Pin ARD_D1_Pin */
  GPIO_InitStruct.Pin = ARD_D0_Pin|ARD_D1_Pin;
  GPIO_InitStruct.Mode = GPIO_MODE_AF_PP;
  GPIO_InitStruct.Pull = GPIO_NOPULL;
  GPIO_InitStruct.Speed = GPIO_SPEED_FREQ_VERY_HIGH;
  GPIO_InitStruct.Alternate = GPIO_AF8_LPUART1;
  HAL_GPIO_Init(GPIOC, &GPIO_InitStruct);

  /*Configure GPIO pins : ARD_A2_Pin ARD_A1_Pin */
  GPIO_InitStruct.Pin = ARD_A2_Pin|ARD_A1_Pin;
  GPIO_InitStruct.Mode = GPIO_MODE_ANALOG_ADC_CONTROL;
  GPIO_InitStruct.Pull = GPIO_NOPULL;
  HAL_GPIO_Init(GPIOC, &GPIO_InitStruct);

  /*Configure GPIO pins : ARD_A4_Pin ARD_A0_Pin */
  GPIO_InitStruct.Pin = ARD_A4_Pin|ARD_A0_Pin;
  GPIO_InitStruct.Mode = GPIO_MODE_ANALOG_ADC_CONTROL;
  GPIO_InitStruct.Pull = GPIO_NOPULL;
  HAL_GPIO_Init(GPIOA, &GPIO_InitStruct);

  /*Configure GPIO pin : STMOD_PWM_Pin */
  GPIO_InitStruct.Pin = STMOD_PWM_Pin;
  GPIO_InitStruct.Mode = GPIO_MODE_AF_PP;
  GPIO_InitStruct.Pull = GPIO_NOPULL;
  GPIO_InitStruct.Speed = GPIO_SPEED_FREQ_LOW;
  GPIO_InitStruct.Alternate = GPIO_AF1_TIM2;
  HAL_GPIO_Init(STMOD_PWM_GPIO_Port, &GPIO_InitStruct);

  /*Configure GPIO pin : SPI2_CS_Pin */
  GPIO_InitStruct.Pin = SPI2_CS_Pin;
  GPIO_InitStruct.Mode = GPIO_MODE_OUTPUT_PP;
  GPIO_InitStruct.Pull = GPIO_NOPULL;
  GPIO_InitStruct.Speed = GPIO_SPEED_FREQ_LOW;
  HAL_GPIO_Init(SPI2_CS_GPIO_Port, &GPIO_InitStruct);

  /*Configure GPIO pins : SPI_MOSI_Pin SPI2_MISO_Pin SPI2_CLK_Pin */
  GPIO_InitStruct.Pin = SPI_MOSI_Pin|SPI2_MISO_Pin|SPI2_CLK_Pin;
  GPIO_InitStruct.Mode = GPIO_MODE_AF_PP;
  GPIO_InitStruct.Pull = GPIO_NOPULL;
  GPIO_InitStruct.Speed = GPIO_SPEED_FREQ_VERY_HIGH;
  GPIO_InitStruct.Alternate = GPIO_AF5_SPI2;
  HAL_GPIO_Init(GPIOB, &GPIO_InitStruct);

  /*Configure GPIO pin : ARD_D5_Pin */
  GPIO_InitStruct.Pin = ARD_D5_Pin;
  GPIO_InitStruct.Mode = GPIO_MODE_AF_PP;
  GPIO_InitStruct.Pull = GPIO_NOPULL;
  GPIO_InitStruct.Speed = GPIO_SPEED_FREQ_LOW;
  GPIO_InitStruct.Alternate = GPIO_AF2_TIM5;
  HAL_GPIO_Init(ARD_D5_GPIO_Port, &GPIO_InitStruct);

  /*Configure GPIO pin : DSI_TE_Pin */
  GPIO_InitStruct.Pin = DSI_TE_Pin;
  GPIO_InitStruct.Mode = GPIO_MODE_AF_PP;
  GPIO_InitStruct.Pull = GPIO_NOPULL;
  GPIO_InitStruct.Speed = GPIO_SPEED_FREQ_LOW;
  GPIO_InitStruct.Alternate = GPIO_AF11_DSI;
  HAL_GPIO_Init(DSI_TE_GPIO_Port, &GPIO_InitStruct);

  /*Configure GPIO pin : DCMI_HSYNC_Pin */
  GPIO_InitStruct.Pin = DCMI_HSYNC_Pin;
  GPIO_InitStruct.Mode = GPIO_MODE_AF_PP;
  GPIO_InitStruct.Pull = GPIO_NOPULL;
  GPIO_InitStruct.Speed = GPIO_SPEED_FREQ_LOW;
  GPIO_InitStruct.Alternate = GPIO_AF10_DCMI;
  HAL_GPIO_Init(DCMI_HSYNC_GPIO_Port, &GPIO_InitStruct);

  /*Configure GPIO pin : ARD_A3_Pin */
  GPIO_InitStruct.Pin = ARD_A3_Pin;
  GPIO_InitStruct.Mode = GPIO_MODE_ANALOG_ADC_CONTROL;
  GPIO_InitStruct.Pull = GPIO_NOPULL;
  HAL_GPIO_Init(ARD_A3_GPIO_Port, &GPIO_InitStruct);

  /*Configure GPIO pin : MFX_WAKEUP_Pin */
  GPIO_InitStruct.Pin = MFX_WAKEUP_Pin;
  GPIO_InitStruct.Mode = GPIO_MODE_OUTPUT_PP;
  GPIO_InitStruct.Pull = GPIO_NOPULL;
  GPIO_InitStruct.Speed = GPIO_SPEED_FREQ_LOW;
  HAL_GPIO_Init(MFX_WAKEUP_GPIO_Port, &GPIO_InitStruct);

  /*Configure GPIO pin : DFDATIN1_Pin */
  GPIO_InitStruct.Pin = DFDATIN1_Pin;
  GPIO_InitStruct.Mode = GPIO_MODE_AF_PP;
  GPIO_InitStruct.Pull = GPIO_NOPULL;
  GPIO_InitStruct.Speed = GPIO_SPEED_FREQ_LOW;
  GPIO_InitStruct.Alternate = GPIO_AF6_DFSDM1;
  HAL_GPIO_Init(DFDATIN1_GPIO_Port, &GPIO_InitStruct);

}

void Error_Handler(void)
{
  __disable_irq();
  while (1)
  {
  }
}
